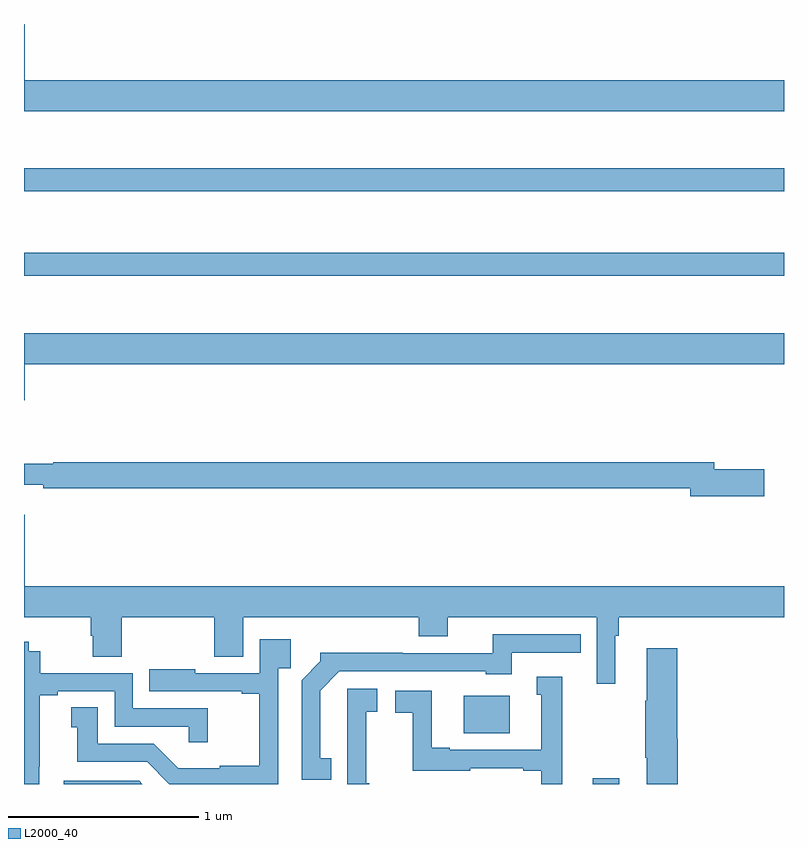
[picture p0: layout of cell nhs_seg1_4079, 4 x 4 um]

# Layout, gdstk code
import gdstk
lib = gdstk.Library(unit=1e-6, precision=1e-09)
def R(c, l, rs):  # rectangles x0, y0, x1, y1
    for r in rs: c.add(gdstk.rectangle(r[:2], r[2:], *l))
def P(c, l, *ps):  # polygons
    for p in ps: c.add(gdstk.Polygon(p, *l))
L2000_40 = (2000, 40)

nhs_seg1_4079 = lib.new_cell('nhs_seg1_4079')
R(nhs_seg1_4079, L2000_40, [(335.993,540.199,336.133,540.229), (335.315,540.467,335.557,540.664), (333,542.874,337,542.995), (333,543.318,337,543.439)])
P(nhs_seg1_4079, L2000_40, [(337,543.904),(333.004,543.904),(333.004,544.199),(333,544.199),(333,543.74),(337,543.74)],
  [(333.004,542.408),(337,542.408),(337,542.572),(333,542.572),(333,542.22),(333.004,542.22)],
  [(336.895,541.856),(336.634,541.856),(336.634,541.892),(333.155,541.892),(333.155,541.885),(333,541.885),(333,541.775),(333.1,541.775),(333.1,541.756),(336.506,541.756),(336.506,541.714),(336.895,541.714)],
  [(336.112,540.98),(336.131,540.98),(336.131,541.076),(337,541.076),(337,541.24),(333.004,541.24),(333.004,541.615),(333,541.615),(333,541.076),(333.35,541.076),(333.35,540.978),(333.362,540.978),(333.362,540.868),(333.515,540.868),(333.515,541.076),(334.001,541.076),(334.001,540.868),(334.153,540.868),(334.153,541.076),(335.078,541.076),(335.078,540.977),(335.23,540.977),(335.23,541.076),(336.015,541.076),(336.015,540.726),(336.112,540.726)],
  [(334.616,540.335),(334.558,540.335),(334.558,540.691),(334.659,540.792),(335.43,540.792),(335.43,540.776),(335.566,540.776),(335.566,540.891),(335.93,540.891),(335.93,540.987),(335.467,540.987),(335.467,540.888),(334.994,540.888),(334.994,540.89),(334.56,540.89),(334.56,540.845),(334.461,540.746),(334.461,540.222),(334.616,540.222)],
  [(334.338,540.809),(334.403,540.809),(334.403,540.961),(334.242,540.961),(334.242,540.783),(333.901,540.783),(333.901,540.802),(333.658,540.802),(333.658,540.687),(334.145,540.687),(334.145,540.675),(334.237,540.675),(334.237,540.295),(334.031,540.295),(334.031,540.283),(333.812,540.283),(333.684,540.411),(333.388,540.411),(333.388,540.602),(333.248,540.602),(333.248,540.499),(333.281,540.499),(333.281,540.315),(333.648,540.315),(333.764,540.199),(334.338,540.199)],
  [(333.08,540.289),(333.082,540.289),(333.082,540.667),(333.178,540.667),(333.178,540.687),(333.477,540.687),(333.477,540.501),(333.867,540.501),(333.867,540.42),(333.968,540.42),(333.968,540.597),(333.573,540.597),(333.573,540.783),(333.086,540.783),(333.086,540.897),(333.024,540.897),(333.024,540.949),(333,540.949),(333,540.199),(333.08,540.199)],
  [(336.442,540.438),(336.437,540.438),(336.437,540.913),(336.278,540.913),(336.278,540.638),(336.271,540.638),(336.271,540.338),(336.278,540.338),(336.278,540.199),(336.442,540.199)],
  [(335.833,540.763),(335.699,540.763),(335.699,540.669),(335.723,540.669),(335.723,540.378),(335.242,540.378),(335.242,540.391),(335.146,540.391),(335.146,540.69),(334.953,540.69),(334.953,540.574),(335.047,540.574),(335.047,540.27),(335.348,540.27),(335.348,540.282),(335.627,540.282),(335.627,540.27),(335.723,540.27),(335.723,540.199),(335.833,540.199)],
  [(334.817,540.203),(334.8,540.203),(334.8,540.579),(334.858,540.579),(334.858,540.7),(334.7,540.7),(334.7,540.424),(334.701,540.424),(334.701,540.199),(334.817,540.199)],
  [(333.606,540.216),(333.21,540.216),(333.21,540.199),(333.623,540.199)])

lib.write_gds('nhs_seg1_4079.gds')
